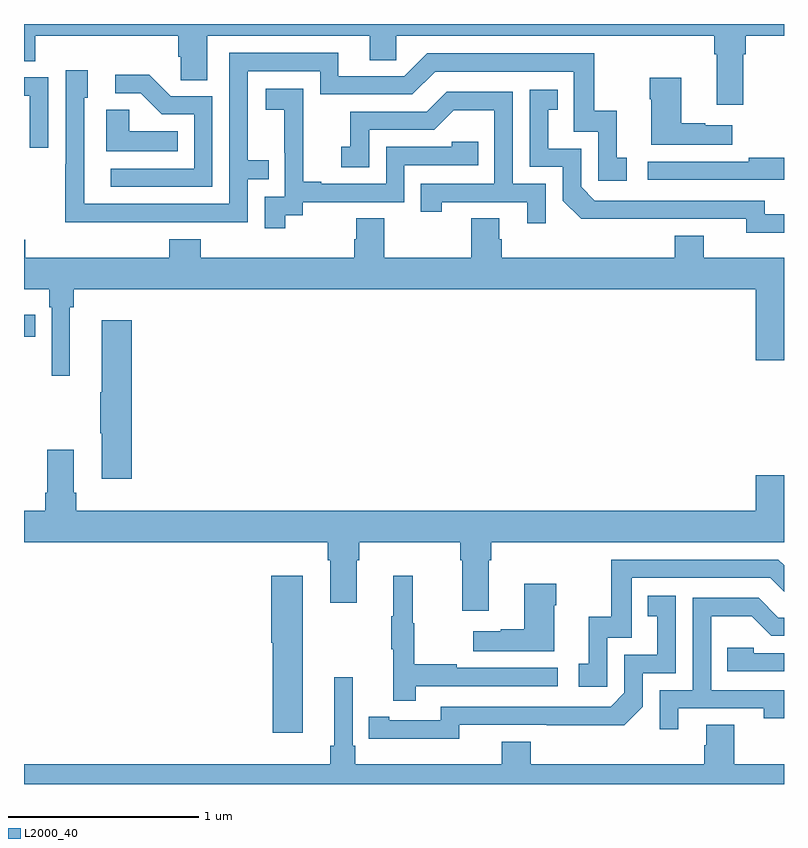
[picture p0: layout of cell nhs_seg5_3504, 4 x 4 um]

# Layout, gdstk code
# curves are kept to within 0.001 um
import gdstk
lib = gdstk.Library(unit=1e-6, precision=1e-09)
def R(c, l, rs):  # rectangles x0, y0, x1, y1
    for r in rs: c.add(gdstk.rectangle(r[:2], r[2:], *l))
def P(c, l, *ps):  # polygons
    for p in ps: c.add(gdstk.Polygon(p, *l))
L2000_40 = (2000, 40)

nhs_seg5_3504 = lib.new_cell('nhs_seg5_3504')
R(nhs_seg5_3504, L2000_40, [(317,879.154,317.06,879.27)])
P(nhs_seg5_3504, L2000_40, [(320.785,880.64),(320.798,880.64),(320.798,880.736),(321,880.736),(321,880.799),(317,880.799),(317,880.603),(317.06,880.603),(317.06,880.736),(317.813,880.736),(317.813,880.627),(317.826,880.627),(317.826,880.504),(317.965,880.504),(317.965,880.736),(318.821,880.736),(318.821,880.609),(318.96,880.609),(318.96,880.736),(320.633,880.736),(320.633,880.64),(320.645,880.64),(320.645,880.374),(320.785,880.374)],
  [(317.681,879.756),(318.177,879.756),(318.177,879.981),(318.287,879.981),(318.287,880.082),(318.177,880.082),(318.177,880.551),(318.558,880.551),(318.558,880.428),(319.044,880.428),(319.164,880.548),(319.893,880.548),(319.893,880.233),(320.022,880.233),(320.022,879.975),(320.173,879.975),(320.173,880.095),(320.12,880.095),(320.12,880.342),(320.002,880.342),(320.002,880.644),(319.122,880.644),(319.002,880.524),(318.655,880.524),(318.655,880.647),(318.081,880.647),(318.081,879.852),(317.316,879.852),(317.316,880.41),(317.335,880.41),(317.335,880.555),(317.22,880.555),(317.22,880.061),(317.218,880.061),(317.218,879.755)],
  [(317.991,880.419),(317.772,880.419),(317.659,880.532),(317.481,880.532),(317.481,880.434),(317.615,880.434),(317.726,880.323),(317.895,880.323),(317.895,880.038),(317.457,880.038),(317.457,879.942),(317.991,879.942)],
  [(317.127,880.518),(317,880.518),(317,880.422),(317.031,880.422),(317.031,880.149),(317.127,880.149)],
  [(320.728,880.267),(320.585,880.267),(320.585,880.277),(320.458,880.277),(320.458,880.516),(320.293,880.516),(320.293,880.403),(320.3,880.403),(320.3,880.163),(320.728,880.163)],
  [(318.376,879.793),(318.468,879.793),(318.468,879.861),(319.002,879.861),(319.002,880.056),(319.391,880.056),(319.391,880.179),(319.251,880.179),(319.251,880.152),(318.906,880.152),(318.906,879.957),(318.565,879.957),(318.565,879.97),(318.47,879.97),(318.47,880.253),(318.471,880.253),(318.471,880.459),(318.273,880.459),(318.273,880.349),(318.371,880.349),(318.371,880.121),(318.372,880.121),(318.372,879.891),(318.267,879.891),(318.267,879.723),(318.376,879.723)],
  [(321,879.798),(320.898,879.798),(320.898,879.87),(320.004,879.87),(319.932,879.942),(319.932,880.143),(319.759,880.143),(319.759,880.347),(319.808,880.347),(319.808,880.453),(319.662,880.453),(319.662,880.047),(319.836,880.047),(319.836,879.87),(319.934,879.773),(320.802,879.774),(320.802,879.701),(321,879.701)],
  [(319.746,879.957),(319.572,879.957),(319.572,880.443),(319.226,880.443),(319.121,880.338),(318.718,880.338),(318.718,880.153),(318.669,880.153),(318.669,880.044),(318.816,880.044),(318.816,880.242),(319.158,880.242),(319.262,880.346),(319.476,880.346),(319.476,879.957),(319.087,879.957),(319.087,879.81),(319.198,879.81),(319.198,879.861),(319.649,879.861),(319.649,879.75),(319.746,879.75)],
  [(317.81,880.234),(317.553,880.234),(317.553,880.349),(317.432,880.349),(317.432,880.13),(317.81,880.13)],
  [(321,880.094),(320.815,880.094),(320.815,880.074),(320.283,880.074),(320.283,879.978),(321,879.978)],
  [(320.852,879.03),(321,879.03),(321,879.568),(320.578,879.568),(320.578,879.685),(320.426,879.685),(320.426,879.568),(319.514,879.568),(319.514,879.666),(319.501,879.666),(319.501,879.776),(319.354,879.776),(319.354,879.568),(318.897,879.568),(318.897,879.776),(318.749,879.776),(318.749,879.666),(318.737,879.666),(318.737,879.568),(317.93,879.568),(317.93,879.667),(317.765,879.667),(317.765,879.568),(317.006,879.568),(317.006,879.664),(317,879.664),(317,879.404),(317.132,879.404),(317.132,879.308),(317.145,879.308),(317.145,878.949),(317.242,878.949),(317.242,879.308),(317.261,879.308),(317.261,879.404),(320.852,879.404)],
  [(317.567,879.241),(317.408,879.241),(317.408,878.861),(317.401,878.861),(317.401,878.644),(317.408,878.644),(317.408,878.406),(317.567,878.406)],
  [(319.447,877.976),(319.46,877.976),(319.46,878.072),(321,878.072),(321,878.425),(320.852,878.425),(320.852,878.236),(317.276,878.236),(317.276,878.332),(317.263,878.332),(317.263,878.557),(317.123,878.557),(317.123,878.332),(317.111,878.332),(317.111,878.236),(317,878.236),(317,878.072),(318.599,878.072),(318.599,877.976),(318.611,877.976),(318.611,877.752),(318.751,877.752),(318.751,877.976),(318.764,877.976),(318.764,878.072),(319.295,878.072),(319.295,877.976),(319.307,877.976),(319.307,877.71),(319.447,877.71)],
  [(320.07,877.569),(320.199,877.569),(320.199,877.884),(320.928,877.884),(321,877.812),(321,877.95),(320.97,877.98),(320.091,877.98),(320.091,877.678),(319.973,877.678),(319.973,877.431),(319.92,877.431),(319.92,877.311),(320.07,877.311)],
  [(319.061,877.314),(319.81,877.314),(319.81,877.41),(319.277,877.41),(319.277,877.43),(319.054,877.43),(319.054,877.644),(319.046,877.644),(319.046,877.894),(318.944,877.894),(318.944,877.681),(318.933,877.681),(318.933,877.507),(318.944,877.507),(318.944,877.236),(319.061,877.236)],
  [(318.466,877.894),(318.302,877.894),(318.302,877.542),(318.308,877.542),(318.308,877.068),(318.466,877.068)],
  [(319.792,877.739),(319.8,877.739),(319.8,877.852),(319.634,877.852),(319.634,877.613),(319.508,877.613),(319.508,877.603),(319.365,877.603),(319.365,877.499),(319.792,877.499)],
  [(319.29,877.11),(320.158,877.109),(320.256,877.206),(320.256,877.383),(320.43,877.383),(320.43,877.789),(320.284,877.789),(320.284,877.683),(320.333,877.683),(320.333,877.479),(320.16,877.479),(320.16,877.278),(320.088,877.206),(319.194,877.206),(319.194,877.134),(318.922,877.134),(318.922,877.154),(318.814,877.154),(318.814,877.038),(319.29,877.037)],
  [(320.443,877.197),(320.894,877.197),(320.894,877.146),(321,877.146),(321,877.293),(320.616,877.293),(320.616,877.682),(320.83,877.682),(320.934,877.578),(321,877.578),(321,877.674),(320.971,877.674),(320.866,877.779),(320.52,877.779),(320.52,877.293),(320.346,877.293),(320.346,877.086),(320.443,877.086)],
  [(321,877.488),(320.841,877.488),(320.841,877.515),(320.701,877.515),(320.701,877.392),(321,877.392)],
  [(321,876.904),(320.739,876.904),(320.739,877.112),(320.591,877.112),(320.591,877.002),(320.579,877.002),(320.579,876.904),(319.667,876.904),(319.667,877.021),(319.514,877.021),(319.514,876.904),(318.743,876.904),(318.743,877),(318.729,877),(318.729,877.36),(318.632,877.36),(318.632,877),(318.613,877),(318.613,876.904),(317,876.904),(317,876.799),(321,876.799)])

lib.write_gds('nhs_seg5_3504.gds')
